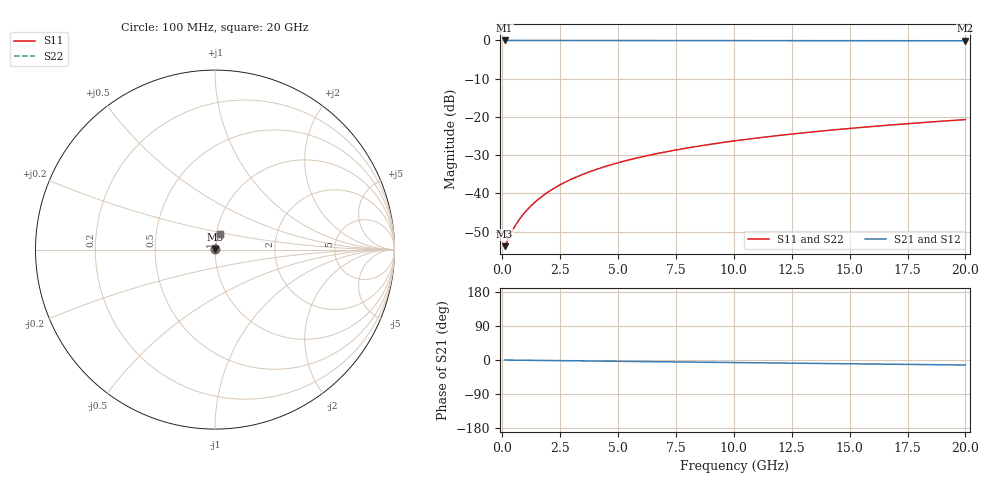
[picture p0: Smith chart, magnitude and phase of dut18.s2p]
! Touchstone file exported from HFSS 2026.1.0
!  File:  C:/ffzhzh/LocalFiles/Ansys_Project_Files/temp_test_BSMRDL_18_1782907488_43084.aedt
!  Generated:  08:06:01 PM Jul  1, 2026
!  Design:  BSMRDL
!  Project:  temp_test_BSMRDL_18_1782907488_43084
! Variables:
!  h_bsmrdl = 3.94um
!  h_ox = 20um
!  h_rdl = 5um
!  h_sub = 80um
!  h_tmrdl = 5um
!  h_tsv = 80um
!  h_via = 3um
!  l_bsmrdl = 211.74um
!  l_sub = 611.74um
!  l_tmrdl = 200um
!  m_sub = 200um
!  pitch = 18.71um
!  r_tsv = 6um
!  s_tmrdl = 10um
!  w_bsmrdl = 10.38um
!  w_sub = 500um
!  w_tmrdl = 12um
!  x_tsv_center1 = 206um
!  x_tsv_center2 = 428.12um
!  x_tsv_center3 = 640.12um
!  x_tsv_center4 = 862.24um
!  x_tsv_center5 = 1074.24um
!  x_tsv_center6 = 1296.36um
# GHz S MA R 50.000000
! Terminal data exported
! Port[1] = BSM_RDL1_1_T1
! Port[2] = BSM_RDL1_1_T2
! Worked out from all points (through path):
!   200 points, 100 MHz to 20 GHz, reference 50 ohm
!   highest |S21| = -0.02 dB at 100 MHz (marker M1); lowest = -0.1 dB at 20 GHz (marker M2)
!   group delay of S21, straight-line fit = 1.83 ps
!   lowest |S11| = -53.8 dB at 100 MHz (marker M3), VSWR 1.00, Z = 50.2 + j0.0597 ohm
!   |S11| at or under -10 dB: start of sweep to end of sweep
!   |S22| runs from -53.8 to -20.7 dB; largest |S21 - S12| = 2.5e-15
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0.1  0.002047 16.9  0.998 -0.1  0.998 -0.1  0.002047 16.9
! Gamma 0 0 0 0
! Port Impedance 50 0 50 0
0.2  0.002325 30.3  0.998 -0.1  0.998 -0.1  0.002325 30.3
0.4  0.003106 46.5  0.9979 -0.3  0.9979 -0.3  0.003106 46.5
0.5  0.003534 51.5  0.9978 -0.4  0.9978 -0.4  0.003534 51.5
0.7  0.004412 58.5  0.9977 -0.5  0.9977 -0.5  0.004412 58.5
1  0.005774 65.1  0.9976 -0.7  0.9976 -0.7  0.005774 65.1
1.2  0.006705 68.1  0.9976 -0.8  0.9976 -0.8  0.006705 68.1
1.4  0.007652 70.3  0.9975 -1.0  0.9975 -1.0  0.007652 70.3
1.8  0.009576 73.4  0.9974 -1.2  0.9974 -1.2  0.009576 73.4
2.3  0.01201 75.7  0.9973 -1.6  0.9973 -1.6  0.01201 75.7
2.9  0.01495 77.3  0.9971 -2.0  0.9971 -2.0  0.01495 77.3
3.5  0.01789 78.1  0.9969 -2.4  0.9969 -2.4  0.01789 78.1
4.2  0.0213 78.6  0.9966 -2.9  0.9966 -2.9  0.0213 78.6
5  0.02517 78.8  0.9963 -3.4  0.9963 -3.4  0.02517 78.8
5.9  0.02948 78.7  0.9959 -4.0  0.9959 -4.0  0.02948 78.7
6.8  0.03374 78.5  0.9954 -4.6  0.9954 -4.6  0.03374 78.5
8.3  0.04073 78.0  0.9946 -5.6  0.9946 -5.6  0.04073 77.9
10.1  0.04896 77.1  0.9936 -6.8  0.9936 -6.8  0.04896 77.1
11.7  0.05615 76.4  0.9928 -7.8  0.9928 -7.8  0.05615 76.4
13.4  0.0637 75.5  0.9918 -9.0  0.9918 -9.0  0.0637 75.5
16.7  0.07813 73.8  0.99 -11.1  0.99 -11.1  0.07813 73.8
20  0.0923 72.0  0.988 -13.2  0.988 -13.2  0.0923 72.0
